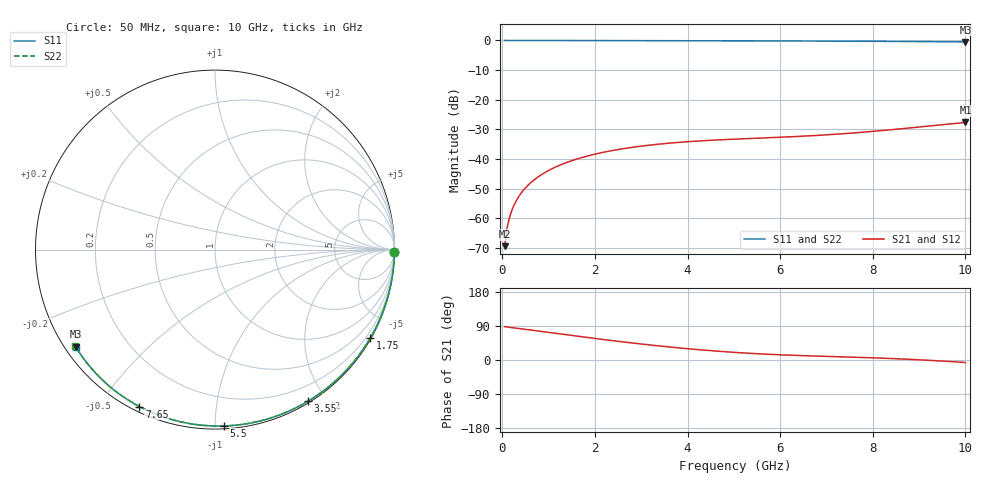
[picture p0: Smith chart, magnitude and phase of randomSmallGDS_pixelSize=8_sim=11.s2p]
! freq	dB(S11)	phase(S11)	dB(S12)	phase(S12)
!  dB(S21)	phase(S21)	dB(S22)	phase(S22)
!S-par simulation data
#  GHz  S  DB  R 50
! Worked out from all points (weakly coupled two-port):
!   200 points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, 50 MHz to 10 GHz, reference 50 ohm
!   highest |S21| = -27.63 dB at 10 GHz (marker M1); lowest = -69.3 dB at 50 MHz (marker M2)
!   lowest |S11| = -0.5 dB at 10 GHz (marker M3), VSWR 36.22, Z = 1.52 - j15.7 ohm
!   |S11| at or under -10 dB: nowhere
!   |S22| runs from -0.5 to 0.0 dB; largest |S21 - S12| = 0
!   S11 on the Smith chart (normalised r, x): 50 MHz: open; 1.75 GHz: 0.03, -3.79; 3.55 GHz: 0.02, -1.79; 5.5 GHz: 0.02, -1.05; 7.65 GHz: 0.02, -0.63; 10 GHz: 0.03, -0.31
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0.05  -0.00 -0.9  -69.34 88.3  -69.34 88.3  -0.00 -0.9
0.1  -0.00 -1.7  -63.41 87.1  -63.41 87.1  -0.00 -1.7
0.15  -0.00 -2.6  -59.97 86.2  -59.97 86.2  -0.00 -2.6
0.2  -0.00 -3.4  -57.52 85.4  -57.52 85.4  -0.00 -3.4
0.25  -0.00 -4.3  -55.62 84.7  -55.62 84.7  -0.00 -4.3
0.35  -0.00 -6.0  -52.75 83.2  -52.75 83.2  -0.00 -6.0
0.5  -0.01 -8.6  -49.69 80.9  -49.69 80.9  -0.01 -8.6
0.7  -0.01 -12.0  -46.82 77.7  -46.82 77.7  -0.01 -12.0
1  -0.02 -17.1  -43.82 72.8  -43.82 72.8  -0.02 -17.1
1.35  -0.03 -22.9  -41.36 67.1  -41.36 67.1  -0.03 -22.9
1.75  -0.04 -29.6  -39.32 60.7  -39.32 60.7  -0.04 -29.6
2.5  -0.05 -41.8  -36.76 49.3  -36.76 49.3  -0.05 -41.8
3.4  -0.08 -56.0  -34.91 36.9  -34.91 36.9  -0.08 -56.1
3.55  -0.08 -58.4  -34.69 35.1  -34.69 35.1  -0.08 -58.4
4.3  -0.10 -69.7  -33.83 26.6  -33.83 26.6  -0.10 -69.7
5.05  -0.12 -80.6  -33.24 19.8  -33.24 19.8  -0.12 -80.7
5.5  -0.14 -87.0  -32.95 16.6  -32.95 16.6  -0.14 -87.0
6.7  -0.20 -103.3  -32.10 10.6  -32.10 10.6  -0.20 -103.4
7.65  -0.26 -115.7  -31.10 7.2  -31.10 7.2  -0.26 -115.8
8.35  -0.31 -124.6  -30.16 4.2  -30.16 4.2  -0.31 -124.6
9.2  -0.39 -135.2  -28.87 -0.7  -28.87 -0.7  -0.39 -135.3
10  -0.48 -145.2  -27.63 -6.5  -27.63 -6.5  -0.48 -145.2
